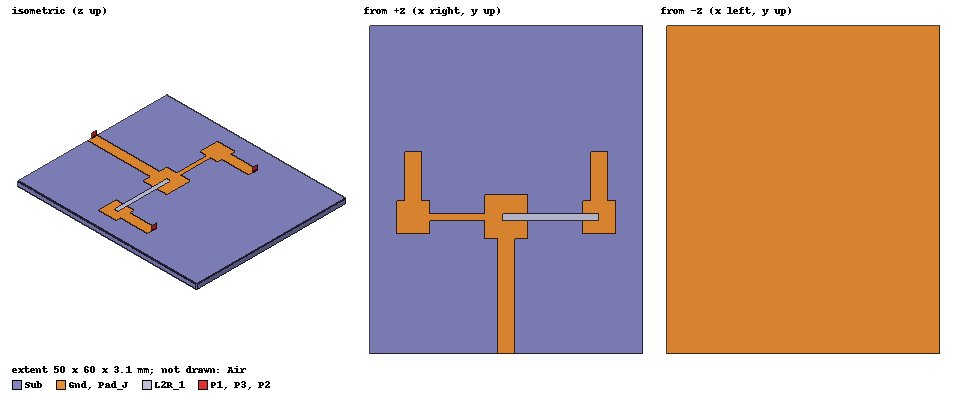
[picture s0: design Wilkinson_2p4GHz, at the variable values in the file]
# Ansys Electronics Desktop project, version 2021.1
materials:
  vacuum: permittivity=1
  FR4_epoxy: permittivity=4.4 dielectric_loss_tangent=0.02

design Wilkinson_2p4GHz (HFSS, DrivenModal, model units mm)
options: Save_Adaptive_support_files
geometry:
  Sub [FR4_epoxy] = box(corner=(0mm, 0mm, -1.6mm), size=(50mm, 60mm, 1.6mm))
  Gnd = rectangle(corner=(0mm, 0mm, -1.6mm), x_size=50mm, y_size=60mm)
  Pad_J = rectangle(corner=(21mm, 21mm, 0mm), x_size=8mm, y_size=8mm)
  L1 = rectangle(corner=(23.45mm, 0mm, 0mm), x_size=3.1mm, y_size=23mm)
  L2R = rectangle(corner=(25mm, 24.35mm, 0mm), x_size=16.35mm, y_size=1.3mm)
  L2R_1 = rectangle(corner=(24.35mm, 24.35mm, 0mm), x_size=17.65mm, y_size=1.3mm)
  L2L = rectangle(corner=(7.35mm, 24.35mm, 0mm), x_size=17.65mm, y_size=1.3mm)
  Pad_R = rectangle(corner=(39mm, 22mm, 0mm), x_size=6mm, y_size=6mm)
  Pad_L = rectangle(corner=(5mm, 22mm, 0mm), x_size=6mm, y_size=6mm)
  L3R = rectangle(corner=(40.45mm, 22mm, 0mm), x_size=3.1mm, y_size=15mm)
  L3L = rectangle(corner=(6.45mm, 22mm, 0mm), x_size=3.1mm, y_size=15mm)
  Pad_J.unite(L1, L2R, L2L, Pad_R, Pad_L, L3R, L3L)
  P1 = rectangle(corner=(23.45mm, 0mm, -1.6mm), z_size=3.1mm, x_size=1.6mm)
  P2 = rectangle(corner=(40.45mm, 37mm, -1.6mm), z_size=3.1mm, x_size=1.6mm)
  P3 = rectangle(corner=(6.45mm, 37mm, -1.6mm), z_size=3.1mm, x_size=1.6mm)
  Air [vacuum] = box(corner=(-15mm, -15mm, -16.6mm), size=(80mm, 90mm, 31.6mm))
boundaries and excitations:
  PE_Gnd: Perfect E Objects=Gnd
  PE_Pad_J: Perfect E Objects=Pad_J
  Rad: Radiation Objects=Air
  1: Lumped Port Objects=P1 Modes{Mode1{IntLine{P1.edge(z at corner) at 0.0313 along -> middle of Pad_J.edge(1 of 4)} CharImp=Zpi RenormImp=50ohm}} Impedance=50ohm
  2: Lumped Port Objects=P2 Modes{Mode1{IntLine{P2.edge(z at corner) at 0.0313 along -> middle of Pad_J.edge(3 of 4)} CharImp=Zpi RenormImp=50ohm}} Impedance=50ohm
  3: Lumped Port Objects=P3 Modes{Mode1{IntLine{P3.edge(z at corner) at 0.0313 along -> middle of Pad_J.edge(3 of 4)} CharImp=Zpi RenormImp=50ohm}} Impedance=50ohm
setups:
  Setup1: HfssDriven Frequency=2.44GHz MaxDeltaS=0.02 MaximumPasses=6 MinimumPasses=1 MinimumConvergedPasses=1 PercentRefinement=30 BasisOrder=1 PortAccuracy=2
    sweep Sweep: 1GHz to 3GHz, 201 points; Type=Interpolating InterpTolerance=0.5 InterpMaxSolns=250 InterpUsePortImped=false PassivityErrorTolerance=0.0001
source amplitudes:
  1:1: 1W 0deg
  2:1, 3:1: 0W 0deg
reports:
  S Parameter Plot 1: dB(S(1,1)), dB(S(2,1)), dB(S(3,1)), dB(S(1,2)), dB(S(2,2)), dB(S(3,2)), dB(S(1,3)), dB(S(2,3)), dB(S(3,3)) vs Freq on Setup1 : Sweep; markers m1 at 2.24GHz, m5 at 2.45GHz
